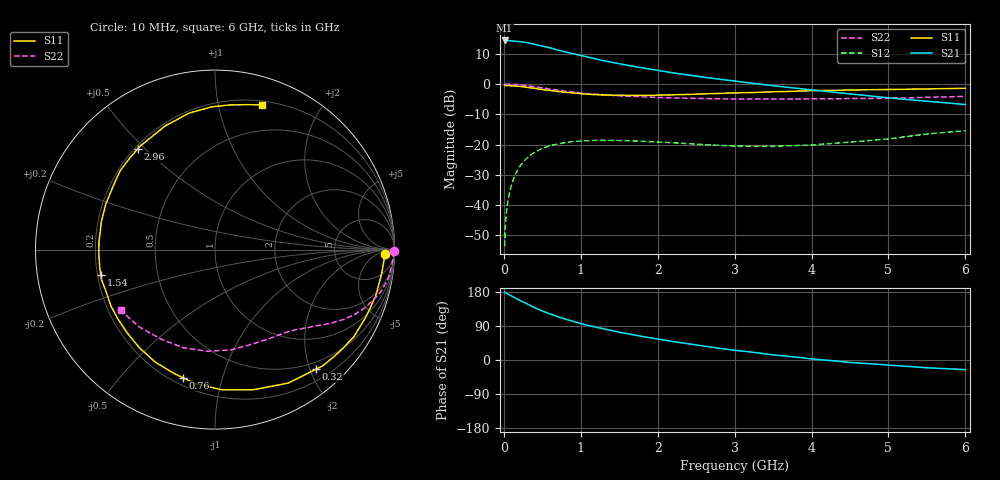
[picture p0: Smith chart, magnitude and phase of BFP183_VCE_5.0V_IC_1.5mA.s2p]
! Infineon Technologies  Discrete & RF Semiconductors
! BFP183
! VCE = 5.0 V,  IC =  1.5 mA
! Common Emitter S-Parameters:  Jan 2016
# GHz  S  MA  R  50
!  f  S11  S21  S12  S22
! GHz  MAG  ANG  MAG  ANG  MAG  ANG  MAG  ANG
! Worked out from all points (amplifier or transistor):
!   210 points, 10 MHz to 6 GHz, reference 50 ohm
!   highest |S21| = 14.3 dB at 10 MHz (marker M1)
!   |S21| within 3 dB of that: start of sweep to 675.9 MHz
!   unconditionally stable (mu >= 1): 2.272 GHz to 5.954 GHz
!   at 185 MHz: K = 0.09, MSG = 21.1 dB, |S12| = -28.1 dB
!   at 1.52 GHz: K = 0.64, MSG = 12.6 dB, |S12| = -18.7 dB
!   at 6 GHz: K = 0.99, MSG = 4.3 dB, |S12| = -15.4 dB
!   S11 on the Smith chart (normalised r, x): 10 MHz: 29, -14; 320 MHz: 0.38, -2.10; 760 MHz: 0.24, -0.75; 1.54 GHz: 0.21, -0.10; 2.96 GHz: 0.21, +0.48; 6 GHz: 0.24, +1.35
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0.01  0.9452 -1.5  5.217 179.2  0.0021 85.7  0.9993 -0.6
0.02  0.9438 -3.3  5.203 178.3  0.0044 85.9  0.9934 -1.1
0.04  0.9393 -6.6  5.193 175.7  0.0089 86.8  0.9932 -2.2
0.085  0.932 -13.7  5.154 170.6  0.0182 81.1  0.9886 -4.9
0.2  0.9134 -32.2  5.02 157.9  0.0422 71.2  0.9687 -11.4
0.26  0.8932 -41.1  4.891 151.7  0.0528 66.1  0.9499 -14.7
0.32  0.8722 -49.8  4.738 146.2  0.0626 61.0  0.9276 -17.3
0.4  0.8481 -61.3  4.518 138.0  0.0747 55.1  0.8997 -20.8
0.5  0.8093 -74.8  4.217 129.0  0.0863 47.9  0.8599 -24.7
0.6  0.7821 -87.2  3.956 121.4  0.0959 42.0  0.8235 -27.9
0.76  0.7353 -104.2  3.474 110.6  0.1055 33.8  0.7712 -31.9
0.9  0.7096 -118.0  3.153 102.0  0.1121 27.8  0.7337 -34.8
1.02  0.6858 -129.4  2.899 95.3  0.1144 23.7  0.7066 -36.9
1.3  0.6597 -151.5  2.418 81.9  0.1172 15.6  0.6607 -41.5
1.54  0.6516 -167.5  2.109 71.8  0.1161 10.8  0.6326 -44.9
2.02  0.6522 165.4  1.656 54.6  0.1101 5.1  0.5972 -52.1
2.54  0.6806 142.6  1.322 38.6  0.1008 3.7  0.5751 -61.3
2.96  0.7076 127.5  1.131 26.7  0.0949 5.8  0.5646 -69.6
3.1  0.714 123.3  1.076 23.5  0.094 7.2  0.5629 -72.6
4.1  0.7765 98.9  0.773 1.2  0.1004 19.5  0.5667 -97.1
5.1  0.8129 82.8  0.573 -14.8  0.1286 26.9  0.5845 -124.1
6  0.848 72.0  0.457 -25.4  0.1691 22.7  0.6254 -147.2
